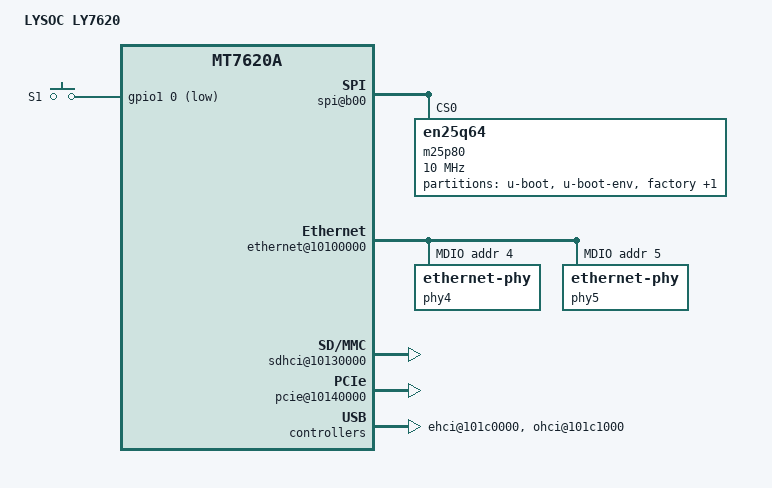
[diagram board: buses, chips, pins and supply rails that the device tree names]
/dts-v1/;

/include/ "mt7620a.dtsi"

/ {
	compatible = "ralink,mt7620a-eval-board", "ralink,mt7620a-soc";
	model = "LYSOC LY7620";

	palmbus@10000000 {
		spi@b00 {
			status = "okay";

			m25p80@0 {
				#address-cells = <1>;
				#size-cells = <1>;
				compatible = "en25q64";
				reg = <0 0>;
				linux,modalias = "m25p80", "en25q64";
				spi-max-frequency = <10000000>;

				partition@0 {
					label = "u-boot";
					reg = <0x0 0x30000>;
					read-only;
				};

				partition@30000 {
					label = "u-boot-env";
					reg = <0x30000 0x10000>;
					read-only;
				};

				factory: partition@40000 {
					label = "factory";
					reg = <0x40000 0x10000>;
					read-only;
				};

				partition@50000 {
					label = "firmware";
					reg = <0x50000 0xfb0000>;
				};
			};
		};
	};

	pinctrl {
		state_default: pinctrl0 {
			default {
				ralink,group = "rgmii1";
				ralink,function = "gpio";
				
				status = "disabled";
			};
		};
	};

	ethernet@10100000 {
		status = "okay";

		pinctrl-names = "default";
		pinctrl-0 = <&rgmii1_pins &rgmii2_pins &mdio_pins>;

		ralink,port-map = "llllw";

		port@4 {
			status = "okay";
			phy-mode = "rgmii";
			phy-handle = <&phy4>;
		};

		port@5 {
			status = "okay";
			phy-mode = "rgmii";
			phy-handle = <&phy5>;
		};

		mdio-bus {
			status = "okay";

			phy4: ethernet-phy@4 {
				reg = <4>;
				phy-mode = "rgmii";
			};

			phy5: ethernet-phy@5 {
				reg = <5>;
				phy-mode = "rgmii";
			};
		};
	};

	sdhci@10130000 {
		status = "okay";
	};

	pcie@10140000 {
		status = "okay";
	};

	gpio-keys-polled {
		compatible = "gpio-keys";
		#address-cells = <1>;
		#size-cells = <0>;
		poll-interval = <20>;
		s1 {
			label = "S1";
			gpios = <&gpio1 0 1>;
			linux,code = <0x101>;
		};
	};

	ehci@101c0000 {
		status = "okay";
	};

	ohci@101c1000 {
		status = "okay";
	};
};
